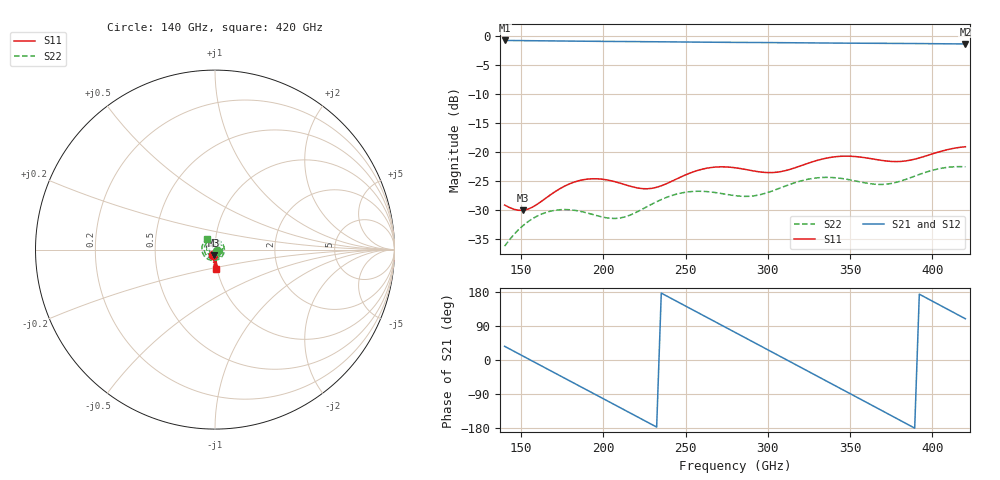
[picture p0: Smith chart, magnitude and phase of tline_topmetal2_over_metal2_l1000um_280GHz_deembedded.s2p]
! Created with skrf 2.0.1 (http://scikit-rf.org).
# GHz S DB R 50.0
!freq dBS11 angS11 dBS21 angS21 dBS12 angS12 dBS22 angS22
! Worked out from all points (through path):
!   101 points, 140 GHz to 420 GHz, reference 50 ohm
!   highest |S21| = -0.83 dB at 140 GHz (marker M1); lowest = -1.4 dB at 420 GHz (marker M2)
!   group delay of S21, straight-line fit = 6.42 ps
!   lowest |S11| = -30.1 dB at 151.2 GHz (marker M3), VSWR 1.06, Z = 49.5 - j3.09 ohm
!   |S11| at or under -10 dB: start of sweep to end of sweep
!   |S22| runs from -36.2 to -22.5 dB; largest |S21 - S12| = 1e-13
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140  -29.16 -109.6  -0.83 36.1  -0.83 36.1  -36.24 -29.0
151.2  -30.07 -96.5  -0.86 10.3  -0.86 10.3  -32.69 -78.5
168  -27.37 -81.8  -0.91 -28.5  -0.91 -28.5  -30.21 -142.8
187.6  -24.81 -91.1  -0.96 -73.6  -0.96 -73.6  -30.34 138.4
196  -24.64 -96.8  -0.98 -93.0  -0.98 -93.0  -30.97 99.2
207.2  -25.16 -101.8  -1.00 -118.8  -1.00 -118.8  -31.47 39.9
221.2  -26.24 -98.5  -1.03 -151.2  -1.03 -151.2  -30.24 -36.4
235.2  -25.85 -87.0  -1.06 176.5  -1.06 176.5  -28.21 -102.4
246.4  -24.42 -83.2  -1.09 150.6  -1.09 150.6  -27.14 -149.8
260.4  -22.96 -87.0  -1.12 118.3  -1.12 118.3  -26.80 152.0
280  -22.74 -95.5  -1.16 73.0  -1.16 73.0  -27.54 62.2
294  -23.41 -95.1  -1.19 40.7  -1.19 40.7  -27.45 -10.1
305.2  -23.51 -89.4  -1.21 14.7  -1.21 14.7  -26.47 -66.5
316.4  -22.75 -84.3  -1.23 -11.2  -1.23 -11.2  -25.31 -117.9
327.6  -21.67 -83.9  -1.25 -37.1  -1.25 -37.1  -24.56 -165.7
338.8  -20.92 -87.3  -1.28 -63.0  -1.28 -63.0  -24.42 147.3
350  -20.76 -91.6  -1.30 -88.9  -1.30 -88.9  -24.83 98.3
361.2  -21.11 -94.0  -1.32 -114.9  -1.32 -114.9  -25.45 44.6
375.2  -21.66 -91.0  -1.33 -147.3  -1.33 -147.3  -25.43 -28.4
386.4  -21.44 -85.3  -1.36 -173.3  -1.36 -173.3  -24.47 -85.0
397.6  -20.56 -82.0  -1.38 160.7  -1.38 160.7  -23.37 -136.5
420  -19.13 -86.8  -1.43 108.8  -1.43 108.8  -22.58 128.4
